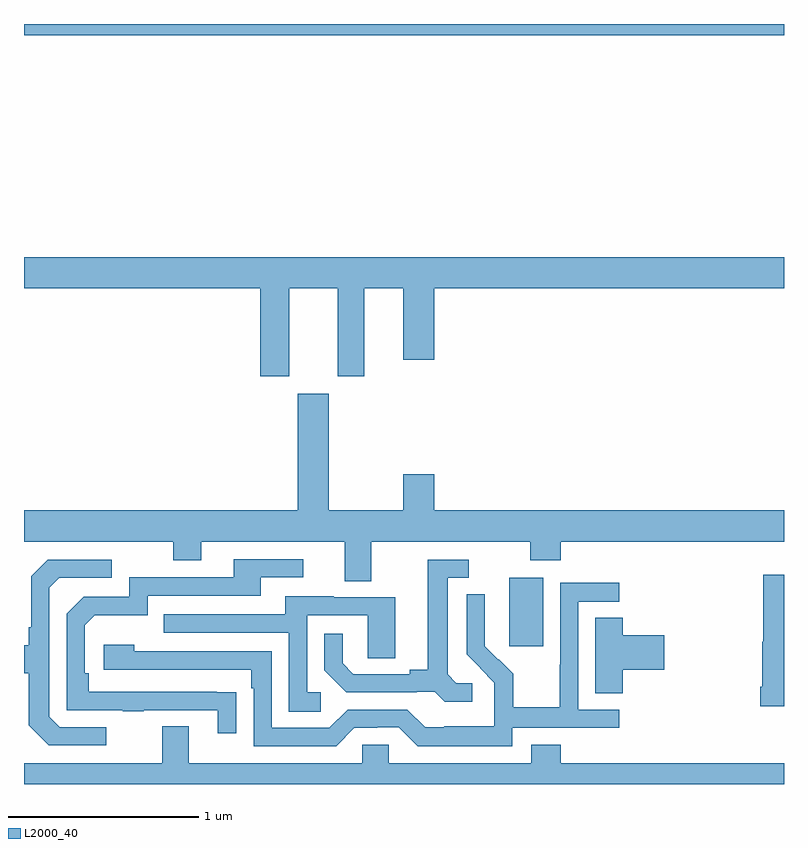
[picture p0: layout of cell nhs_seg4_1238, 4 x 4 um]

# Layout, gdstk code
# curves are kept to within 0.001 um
import gdstk
lib = gdstk.Library(unit=1e-6, precision=1e-09)
def R(c, l, rs):  # rectangles x0, y0, x1, y1
    for r in rs: c.add(gdstk.rectangle(r[:2], r[2:], *l))
def P(c, l, *ps):  # polygons
    for p in ps: c.add(gdstk.Polygon(p, *l))
L2000_40 = (2000, 40)

nhs_seg4_1238 = lib.new_cell('nhs_seg4_1238')
R(nhs_seg4_1238, L2000_40, [(177.554,773.625,177.733,773.986), (175,776.84,179,776.9)])
P(nhs_seg4_1238, L2000_40, [(176.395,775.508),(176.651,775.508),(176.651,775.047),(176.791,775.047),(176.791,775.508),(176.996,775.508),(176.996,775.134),(177.16,775.134),(177.16,775.508),(179,775.508),(179,775.672),(175,775.672),(175,775.508),(176.243,775.508),(176.243,775.047),(176.395,775.047)],
  [(177.664,774.077),(177.824,774.077),(177.824,774.176),(179,774.176),(179,774.34),(177.16,774.34),(177.16,774.529),(176.996,774.529),(176.996,774.34),(176.605,774.34),(176.605,774.955),(176.441,774.955),(176.441,774.34),(175,774.34),(175,774.176),(175.786,774.176),(175.786,774.077),(175.933,774.077),(175.933,774.176),(176.687,774.176),(176.687,773.968),(176.827,773.968),(176.827,774.176),(177.664,774.176)],
  [(176.117,773.384),(175.34,773.385),(175.34,773.482),(175.32,773.482),(175.32,773.736),(175.373,773.789),(175.65,773.789),(175.65,773.892),(176.245,773.892),(176.245,773.988),(176.47,773.988),(176.47,774.084),(176.105,774.084),(176.105,773.988),(175.554,773.988),(175.554,773.886),(175.314,773.886),(175.224,773.796),(175.224,773.289),(175.519,773.289),(175.519,773.284),(175.631,773.284),(175.631,773.289),(176.021,773.289),(176.021,773.166),(176.117,773.166)],
  [(175.432,773.199),(175.188,773.199),(175.134,773.253),(175.134,773.934),(175.185,773.985),(175.462,773.985),(175.462,774.081),(175.125,774.081),(175.038,773.994),(175.038,773.725),(175.026,773.725),(175.026,773.629),(175,773.629),(175,773.482),(175.026,773.482),(175.026,773.209),(175.131,773.103),(175.432,773.103)],
  [(177.358,773.43),(177.276,773.43),(177.229,773.477),(177.229,773.985),(177.34,773.985),(177.34,774.081),(177.125,774.081),(177.125,773.501),(177.029,773.501),(177.029,773.478),(176.734,773.478),(176.677,773.535),(176.677,773.692),(176.58,773.692),(176.58,773.498),(176.696,773.382),(177.068,773.382),(177.068,773.385),(177.162,773.385),(177.214,773.333),(177.358,773.333)],
  [(179,774.001),(178.892,774.001),(178.892,773.649),(178.886,773.649),(178.886,773.413),(178.874,773.413),(178.874,773.309),(179,773.309)],
  [(177.57,773.196),(178.132,773.196),(178.132,773.292),(177.918,773.292),(177.918,773.859),(178.132,773.859),(178.132,773.958),(177.822,773.958),(177.822,773.528),(177.82,773.528),(177.82,773.305),(177.575,773.305),(177.575,773.479),(177.498,773.556),(177.495,773.553),(177.425,773.624),(177.426,773.9),(177.33,773.9),(177.33,773.582),(177.476,773.434),(177.476,773.337),(177.474,773.337),(177.474,773.203),(177.211,773.203),(177.211,773.199),(177.111,773.199),(177.018,773.292),(176.703,773.292),(176.607,773.196),(176.304,773.196),(176.304,773.598),(175.58,773.598),(175.58,773.632),(175.419,773.632),(175.419,773.502),(176.195,773.502),(176.195,773.405),(176.208,773.405),(176.208,773.1),(176.643,773.1),(176.739,773.196),(176.858,773.196),(176.858,773.199),(176.973,773.199),(177.073,773.099),(177.57,773.099)],
  [(176.563,773.382),(176.49,773.382),(176.49,773.787),(176.808,773.787),(176.808,773.563),(176.953,773.563),(176.953,773.883),(176.629,773.883),(176.629,773.887),(176.375,773.887),(176.375,773.793),(175.735,773.793),(175.735,773.697),(176.394,773.697),(176.394,773.281),(176.563,773.281)],
  [(178.151,773.501),(178.369,773.501),(178.369,773.684),(178.151,773.684),(178.151,773.774),(178.007,773.774),(178.007,773.377),(178.151,773.377)],
  [(179,773.008),(177.824,773.008),(177.824,773.107),(177.671,773.107),(177.671,773.008),(176.919,773.008),(176.919,773.106),(176.781,773.106),(176.781,773.008),(175.867,773.008),(175.867,773.203),(175.727,773.203),(175.727,773.008),(175,773.008),(175,772.9),(179,772.9)])

lib.write_gds('nhs_seg4_1238.gds')
